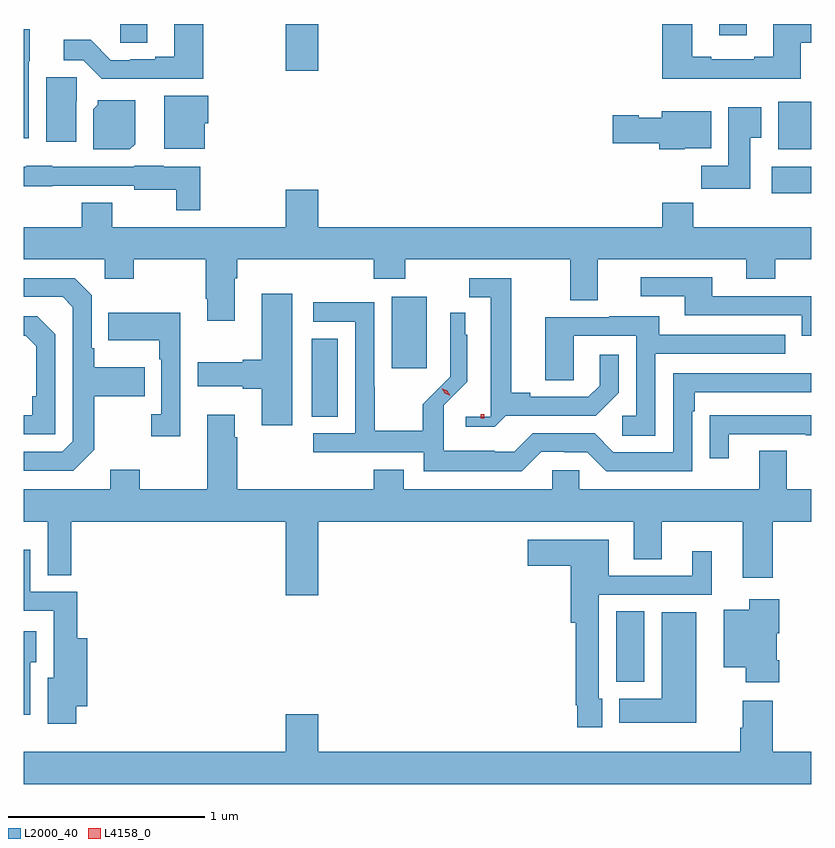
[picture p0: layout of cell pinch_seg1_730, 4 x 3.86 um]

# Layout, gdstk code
import gdstk
lib = gdstk.Library(unit=1e-6, precision=1e-09)
def R(c, l, rs):  # rectangles x0, y0, x1, y1
    for r in rs: c.add(gdstk.rectangle(r[:2], r[2:], *l))
def P(c, l, *ps):  # polygons
    for p in ps: c.add(gdstk.Polygon(p, *l))
L2000_40 = (2000, 40)
L4158_0 = (4158, 0)

pinch_seg1_730 = lib.new_cell('pinch_seg1_730')
R(pinch_seg1_730, L2000_40, [(658.193,540.263,658.336,540.62), (656.648,541.609,656.779,542.006), (657.053,541.856,657.232,542.218), (658.983,542.744,659.184,542.878), (659.015,542.966,659.184,543.208), (656.516,543.366,656.68,543.603), (655.674,543.508,655.813,543.603), (658.715,543.546,658.855,543.603)])
P(pinch_seg1_730, L2000_40, [(659.131,543.507),(659.184,543.507),(659.184,543.603),(658.991,543.603),(658.991,543.436),(658.895,543.436),(658.895,543.423),(658.675,543.423),(658.675,543.436),(658.579,543.436),(658.579,543.603),(658.427,543.603),(658.427,543.326),(659.131,543.326)],
  [(656.097,543.603),(655.949,543.603),(655.949,543.436),(655.853,543.436),(655.853,543.423),(655.726,543.423),(655.726,543.42),(655.626,543.42),(655.524,543.523),(655.389,543.523),(655.389,543.42),(655.488,543.42),(655.582,543.326),(656.097,543.326)],
  [(655.21,543.414),(655.216,543.414),(655.216,543.577),(655.184,543.577),(655.184,543.024),(655.21,543.024)],
  [(655.45,543.21),(655.454,543.21),(655.454,543.333),(655.298,543.333),(655.298,543.006),(655.45,543.006)],
  [(656.104,543.099),(656.122,543.099),(656.122,543.238),(655.898,543.238),(655.898,542.969),(656.104,542.969)],
  [(655.75,542.992),(655.75,543.217),(655.56,543.217),(655.56,543.192),(655.538,543.17),(655.538,542.966),(655.724,542.966)],
  [(658.873,543.025),(658.93,543.025),(658.93,543.181),(658.763,543.181),(658.763,542.884),(658.624,542.884),(658.624,542.766),(658.873,542.766)],
  [(658.542,542.972),(658.675,542.972),(658.675,543.16),(658.424,543.16),(658.424,543.127),(658.308,543.127),(658.308,543.14),(658.176,543.14),(658.176,542.998),(658.412,542.998),(658.412,542.966),(658.542,542.966)],
  [(656.08,542.878),(655.896,542.878),(655.896,542.884),(655.746,542.884),(655.746,542.877),(655.329,542.877),(655.329,542.884),(655.197,542.884),(655.197,542.878),(655.184,542.878),(655.184,542.78),(655.329,542.78),(655.329,542.781),(655.746,542.781),(655.746,542.762),(655.959,542.762),(655.959,542.657),(656.08,542.657)],
  [(656.257,542.312),(656.27,542.312),(656.27,542.408),(656.963,542.408),(656.963,542.309),(657.123,542.309),(657.123,542.408),(657.959,542.408),(657.959,542.2),(658.099,542.2),(658.099,542.408),(658.853,542.408),(658.853,542.309),(659.001,542.309),(659.001,542.408),(659.184,542.408),(659.184,542.572),(658.583,542.572),(658.583,542.696),(658.427,542.696),(658.427,542.572),(656.68,542.572),(656.68,542.761),(656.516,542.761),(656.516,542.572),(655.635,542.572),(655.635,542.696),(655.48,542.696),(655.48,542.572),(655.184,542.572),(655.184,542.408),(655.596,542.408),(655.596,542.309),(655.743,542.309),(655.743,542.408),(656.11,542.408),(656.11,542.209),(656.117,542.209),(656.117,542.097),(656.257,542.097)],
  [(659.184,542.22),(658.681,542.22),(658.681,542.316),(658.317,542.316),(658.317,542.22),(658.541,542.22),(658.541,542.124),(659.136,542.124),(659.136,542.021),(659.184,542.021)],
  [(655.543,541.441),(655.543,541.714),(655.799,541.714),(655.799,541.861),(655.543,541.861),(655.543,541.957),(655.53,541.957),(655.53,542.226),(655.443,542.313),(655.184,542.313),(655.184,542.217),(655.383,542.217),(655.434,542.166),(655.434,541.485),(655.38,541.431),(655.184,541.431),(655.184,541.335),(655.437,541.335)],
  [(657.633,541.614),(658.09,541.614),(658.206,541.73),(658.206,541.924),(658.109,541.924),(658.109,541.767),(658.052,541.71),(657.757,541.71),(657.757,541.73),(657.661,541.73),(657.661,542.313),(657.447,542.313),(657.447,542.215),(657.557,542.215),(657.557,541.714),(657.555,541.714),(657.555,541.608),(657.429,541.608),(657.429,541.557),(657.576,541.557)],
  [(656.548,542.233),(656.393,542.233),(656.393,541.898),(656.297,541.898),(656.297,541.885),(656.067,541.885),(656.067,541.763),(656.297,541.763),(656.297,541.751),(656.393,541.751),(656.393,541.566),(656.548,541.566)],
  [(657.813,541.431),(657.929,541.431),(657.929,541.428),(658.047,541.428),(658.143,541.332),(658.578,541.332),(658.578,541.637),(658.591,541.637),(658.591,541.734),(659.184,541.734),(659.184,541.83),(658.482,541.83),(658.482,541.428),(658.179,541.428),(658.083,541.524),(657.768,541.524),(657.675,541.431),(657.575,541.431),(657.575,541.435),(657.318,541.435),(657.318,541.668),(657.436,541.786),(657.436,542.024),(657.427,542.024),(657.427,542.137),(657.351,542.137),(657.351,541.813),(657.211,541.673),(657.211,541.537),(656.967,541.537),(656.967,541.76),(656.964,541.76),(656.964,542.19),(656.655,542.19),(656.655,542.091),(656.868,542.091),(656.868,541.524),(656.655,541.524),(656.655,541.428),(657.216,541.428),(657.216,541.331),(657.713,541.331)],
  [(655.98,542.137),(655.615,542.137),(655.615,541.997),(655.872,541.997),(655.872,541.901),(655.884,541.901),(655.884,541.622),(655.833,541.622),(655.833,541.509),(655.98,541.509)],
  [(658.392,541.929),(659.051,541.929),(659.051,542.025),(658.411,542.025),(658.411,542.119),(658.157,542.119),(658.157,542.115),(657.833,542.115),(657.833,541.795),(657.978,541.795),(657.978,542.019),(658.296,542.019),(658.296,541.614),(658.224,541.614),(658.224,541.513),(658.392,541.513)],
  [(655.344,542.028),(655.254,542.118),(655.184,542.118),(655.184,542.021),(655.195,542.021),(655.248,541.968),(655.248,541.714),(655.228,541.714),(655.228,541.617),(655.184,541.617),(655.184,541.521),(655.344,541.521)],
  [(655.625,541.339),(655.625,541.24),(655.184,541.24),(655.184,541.076),(655.307,541.076),(655.307,540.805),(655.426,540.805),(655.426,541.076),(656.516,541.076),(656.516,540.702),(656.68,540.702),(656.68,541.076),(658.283,541.076),(658.283,540.886),(658.423,540.886),(658.423,541.076),(658.835,541.076),(658.835,540.792),(658.988,540.792),(658.988,541.076),(659.184,541.076),(659.184,541.24),(659.059,541.24),(659.059,541.435),(658.919,541.435),(658.919,541.24),(658.005,541.24),(658.005,541.338),(657.867,541.338),(657.867,541.24),(657.115,541.24),(657.115,541.339),(656.963,541.339),(656.963,541.24),(656.27,541.24),(656.27,541.505),(656.257,541.505),(656.257,541.618),(656.117,541.618),(656.117,541.24),(655.773,541.24),(655.773,541.339)],
  [(658.765,541.521),(659.155,541.521),(659.155,541.516),(659.184,541.516),(659.184,541.617),(658.771,541.617),(658.771,541.616),(658.669,541.616),(658.669,541.398),(658.765,541.398)],
  [(658.123,540.177),(658.104,540.177),(658.104,540.705),(658.678,540.705),(658.678,540.925),(658.58,540.925),(658.58,540.801),(658.156,540.801),(658.156,540.985),(657.744,540.985),(657.744,540.851),(657.962,540.851),(657.962,540.563),(657.988,540.563),(657.988,540.145),(657.996,540.145),(657.996,540.033),(658.123,540.033)],
  [(655.451,540.14),(655.508,540.14),(655.508,540.484),(655.456,540.484),(655.456,540.72),(655.218,540.72),(655.218,540.934),(655.184,540.934),(655.184,540.624),(655.337,540.624),(655.337,540.283),(655.307,540.283),(655.307,540.051),(655.451,540.051)],
  [(659.021,540.373),(659.008,540.373),(659.008,540.509),(659.021,540.509),(659.021,540.682),(658.868,540.682),(658.868,540.628),(658.739,540.628),(658.739,540.338),(658.85,540.338),(658.85,540.261),(659.021,540.261)],
  [(658.6,540.616),(658.424,540.616),(658.424,540.178),(658.208,540.178),(658.208,540.056),(658.6,540.056)],
  [(655.218,540.361),(655.249,540.361),(655.249,540.52),(655.184,540.52),(655.184,540.095),(655.218,540.095)],
  [(659.184,539.908),(658.988,539.908),(658.988,540.166),(658.835,540.166),(658.835,540.029),(658.823,540.029),(658.823,539.908),(656.68,539.908),(656.68,540.097),(656.516,540.097),(656.516,539.908),(655.184,539.908),(655.184,539.744),(659.184,539.744)])
R(pinch_seg1_730, L4158_0, [(657.504,541.602,657.524,541.622)])
P(pinch_seg1_730, L4158_0, [(657.35,541.716),(657.323,541.727),(657.308,541.753),(657.308,541.753),(657.308,541.753),(657.336,541.742),(657.351,541.716),(657.351,541.716)])

lib.write_gds('pinch_seg1_730.gds')
